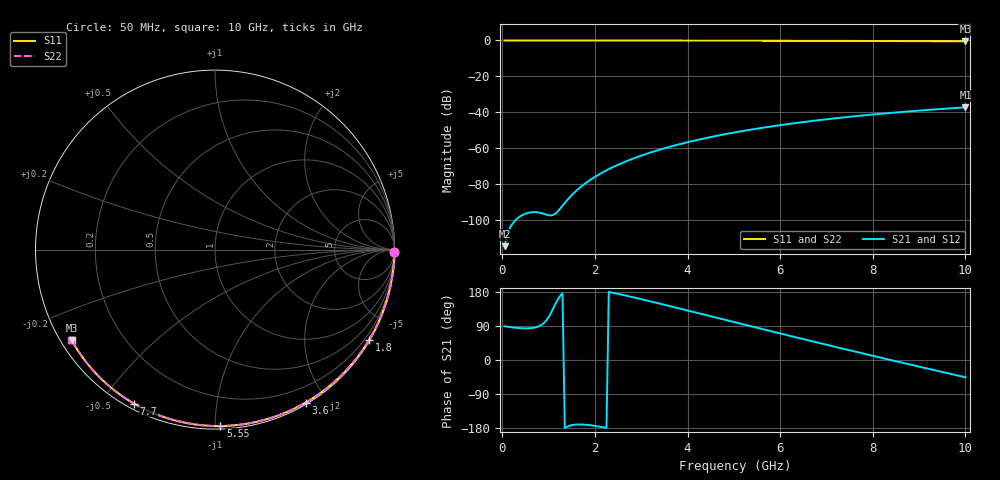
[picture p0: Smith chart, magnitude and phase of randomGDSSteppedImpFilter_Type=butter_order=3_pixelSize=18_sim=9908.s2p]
! freq	dB(S11)	phase(S11)	dB(S12)	phase(S12)
!  dB(S21)	phase(S21)	dB(S22)	phase(S22)
!S-par simulation data
#  GHz  S  DB  R 50
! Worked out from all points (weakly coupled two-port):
!   200 points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, 50 MHz to 10 GHz, reference 50 ohm
!   highest |S21| = -37.29 dB at 10 GHz (marker M1); lowest = -114.7 dB at 50 MHz (marker M2)
!   lowest |S11| = -0.5 dB at 10 GHz (marker M3), VSWR 34.85, Z = 1.55 - j14.4 ohm
!   |S11| at or under -10 dB: nowhere
!   |S22| runs from -0.5 to 0.0 dB; largest |S21 - S12| = 0
!   S11 on the Smith chart (normalised r, x): 50 MHz: open; 1.8 GHz: 0.03, -3.68; 3.6 GHz: 0.02, -1.76; 5.55 GHz: 0.02, -1.03; 7.7 GHz: 0.02, -0.60; 10 GHz: 0.03, -0.29
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0.05  -0.00 -0.9  -114.68 89.1  -114.68 89.1  -0.00 -0.9
0.45  -0.01 -7.7  -97.11 83.6  -97.11 83.6  -0.01 -7.7
0.9  -0.02 -15.4  -96.66 97.7  -96.66 97.7  -0.02 -15.4
1.3  -0.03 -22.1  -92.13 175.8  -92.13 175.8  -0.03 -22.1
1.75  -0.04 -29.6  -80.49 -170.4  -80.49 -170.4  -0.04 -29.6
1.8  -0.04 -30.4  -79.51 -170.9  -79.51 -170.9  -0.04 -30.4
1.95  -0.04 -32.9  -76.85 -172.9  -76.85 -172.9  -0.04 -32.9
2.1  -0.04 -35.4  -74.51 -175.8  -74.51 -175.8  -0.04 -35.4
2.3  -0.05 -38.6  -71.74 179.6  -71.74 179.6  -0.05 -38.6
2.5  -0.05 -41.9  -69.30 174.5  -69.30 174.5  -0.05 -41.9
2.9  -0.06 -48.3  -65.13 163.4  -65.13 163.4  -0.06 -48.3
3.4  -0.07 -56.2  -60.87 148.8  -60.87 148.8  -0.07 -56.2
3.6  -0.08 -59.3  -59.39 142.8  -59.39 142.8  -0.08 -59.3
4.3  -0.10 -70.0  -54.94 121.6  -54.94 121.6  -0.10 -70.0
5.05  -0.12 -81.1  -51.11 98.7  -51.11 98.7  -0.12 -81.1
5.55  -0.14 -88.3  -48.94 83.6  -48.94 83.6  -0.14 -88.3
6.1  -0.17 -96.0  -46.85 67.0  -46.85 67.0  -0.17 -96.1
6.7  -0.20 -104.3  -44.84 49.1  -44.84 49.1  -0.20 -104.3
7.7  -0.27 -117.7  -42.02 19.7  -42.02 19.7  -0.27 -117.8
8.35  -0.32 -126.3  -40.46 1.0  -40.46 1.0  -0.32 -126.4
9.2  -0.41 -137.4  -38.70 -23.2  -38.70 -23.2  -0.41 -137.5
10  -0.50 -147.8  -37.29 -45.6  -37.29 -45.6  -0.50 -147.9
